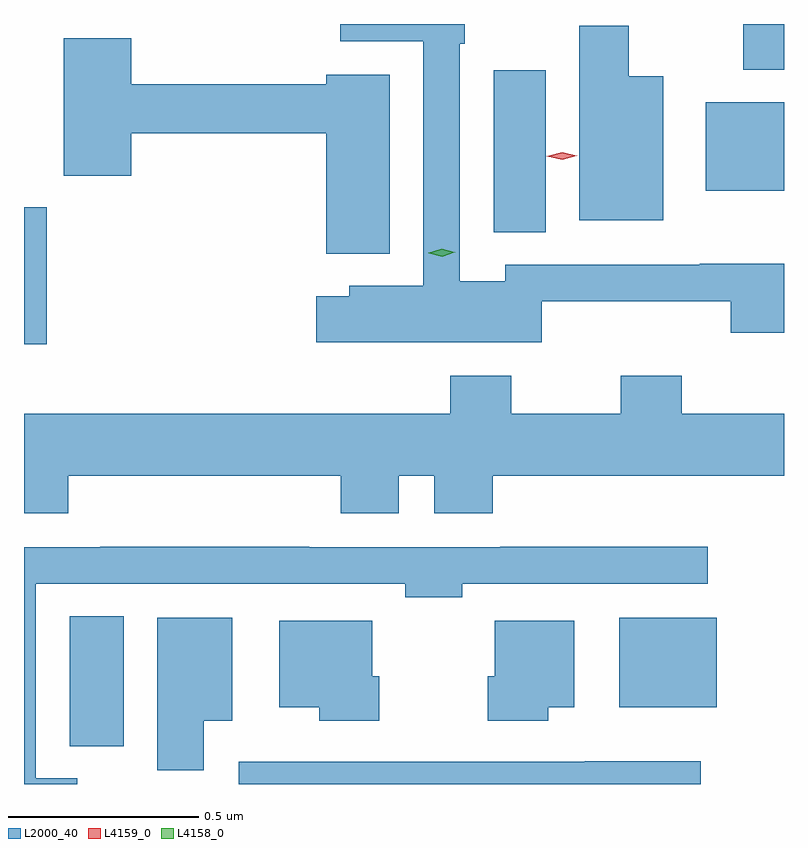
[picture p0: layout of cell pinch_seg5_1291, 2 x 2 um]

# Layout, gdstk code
import gdstk
lib = gdstk.Library(unit=1e-6, precision=1e-09)
def R(c, l, rs):  # rectangles x0, y0, x1, y1
    for r in rs: c.add(gdstk.rectangle(r[:2], r[2:], *l))
def P(c, l, *ps):  # polygons
    for p in ps: c.add(gdstk.Polygon(p, *l))
L2000_40 = (2000, 40)
L4158_0 = (4158, 0)
L4159_0 = (4159, 0)

pinch_seg5_1291 = lib.new_cell('pinch_seg5_1291')
R(pinch_seg5_1291, L2000_40, [(421.763,888.017,421.906,888.359), (423.209,888.119,423.466,888.355), (421.643,889.074,421.703,889.435), (422.879,889.369,423.016,889.795), (423.437,889.478,423.643,889.711), (423.536,889.797,423.643,889.917)])
P(pinch_seg5_1291, L2000_40, [(423.006,889.187),(423.503,889.187),(423.503,889.104),(423.643,889.104),(423.643,889.286),(423.421,889.286),(423.421,889.284),(422.91,889.284),(422.91,889.24),(422.79,889.24),(422.79,889.865),(422.803,889.865),(422.803,889.917),(422.475,889.917),(422.475,889.872),(422.694,889.872),(422.694,889.228),(422.499,889.228),(422.499,889.201),(422.412,889.201),(422.412,889.079),(423.006,889.079)],
  [(423.325,889.78),(423.234,889.78),(423.234,889.912),(423.104,889.912),(423.104,889.4),(423.325,889.4)],
  [(422.605,889.783),(422.438,889.783),(422.438,889.759),(421.925,889.759),(421.925,889.879),(421.747,889.879),(421.747,889.518),(421.925,889.518),(421.925,889.63),(422.438,889.63),(422.438,889.313),(422.605,889.313)],
  [(421.76,888.728),(422.477,888.728),(422.477,888.629),(422.629,888.629),(422.629,888.728),(422.723,888.728),(422.723,888.629),(422.876,888.629),(422.876,888.728),(423.643,888.728),(423.643,888.892),(423.374,888.892),(423.374,888.991),(423.214,888.991),(423.214,888.892),(422.925,888.892),(422.925,888.991),(422.765,888.991),(422.765,888.892),(421.643,888.892),(421.643,888.629),(421.76,888.629)],
  [(421.783,887.932),(421.674,887.932),(421.674,888.444),(422.646,888.444),(422.646,888.409),(422.796,888.409),(422.796,888.444),(423.442,888.444),(423.442,888.542),(422.896,888.542),(422.896,888.54),(422.393,888.54),(422.393,888.542),(421.843,888.542),(421.843,888.54),(421.643,888.54),(421.643,887.917),(421.783,887.917)],
  [(422.116,888.083),(422.191,888.083),(422.191,888.355),(421.994,888.355),(421.994,887.953),(422.116,887.953)],
  [(422.578,888.201),(422.56,888.201),(422.56,888.346),(422.315,888.346),(422.315,888.119),(422.42,888.119),(422.42,888.083),(422.578,888.083)],
  [(423.022,888.119),(423.091,888.119),(423.091,888.346),(422.882,888.346),(422.882,888.201),(422.864,888.201),(422.864,888.083),(423.022,888.083)],
  [(423.424,887.977),(423.118,887.977),(423.118,887.976),(422.208,887.976),(422.208,887.917),(423.424,887.917)])
P(pinch_seg5_1291, L4158_0, [(422.743,889.305),(422.708,889.314),(422.707,889.315),(422.708,889.315),(422.742,889.325),(422.777,889.316),(422.778,889.316),(422.777,889.316)])
P(pinch_seg5_1291, L4159_0, [(423.059,889.56),(423.019,889.569),(423.019,889.569),(423.019,889.569),(423.059,889.58),(423.098,889.57),(423.099,889.57),(423.098,889.57)])

lib.write_gds('pinch_seg5_1291.gds')
